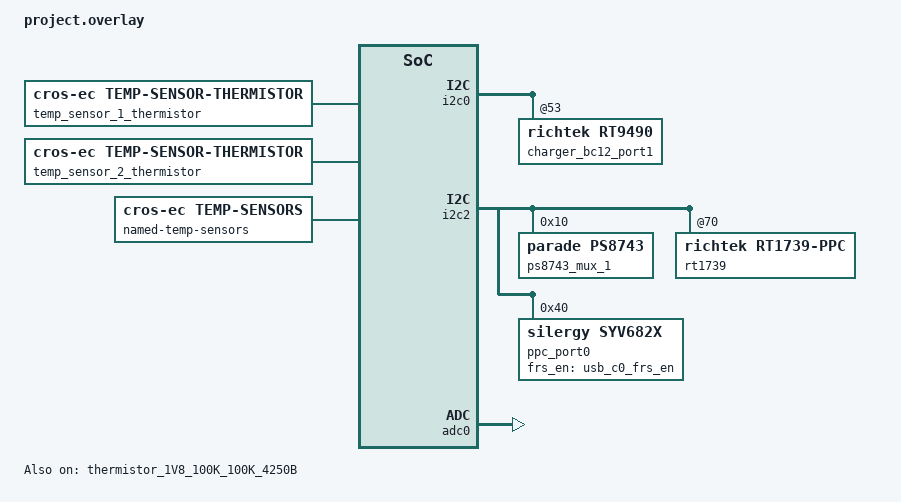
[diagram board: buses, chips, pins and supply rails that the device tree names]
/* Copyright 2023 The ChromiumOS Authors
 * Use of this source code is governed by a BSD-style license that can be
 * found in the LICENSE file.
 */

/* Corsola program common DTS includes */

#include "../common.dtsi"
#include "../power_signal.dtsi"
#include "../ite_adc.dtsi"
#include "../ite_gpio.dtsi"
#include "../ite_i2c.dtsi"
#include "../ite_interrupts.dtsi"
#include "../ite_keyboard.dtsi"
#include "../ite_led.dtsi"
#include "../ite_usbc.dtsi"
#include "../ite_shi.dtsi"
#include "./thermistor.dtsi"
#include <cros/thermistor/thermistor.dtsi>
#include <dt-bindings/motionsense/utils.h>

/ {
	batteries {
		default_battery: b300049 {
			compatible = "celxpert,b300049", "battery-smart";
		};
	};
	gpio-interrupts {
		int_base_imu: base_imu {
			irq-pin = <&base_imu_int_l>;
			flags = <GPIO_INT_EDGE_FALLING>;
			handler = "bmi3xx_interrupt";
		};

		int_pmic_ec_resetb: pmic-ec-resetb {
			irq-pin = <&pmic_ec_resetb>;
			flags = <GPIO_INT_EDGE_BOTH>;
			handler = "power_signal_interrupt";
		};

		int_pg_pp4200_s5: pg-pp4200-s5 {
			irq-pin = <&pg_pp4200_s5_od>;
			flags = <GPIO_INT_EDGE_BOTH>;
			handler = "power_signal_interrupt";
		};

		pogo_prsnt_int: pogo-prsnt-int {
			irq-pin = <&pogo_prsnt_int_l>;
			flags = <GPIO_INT_EDGE_BOTH>;
			handler = "base_detect_interrupt";
		};

		usb_c0_ppc_bc12 {
			handler = "ppc_interrupt";
		};

		/delete-node/ usb_c1_bc12_charger;
		/delete-node/ lid_imu;
	};

	named-gpios {
		compatible = "named-gpios";
		/delete-node/ lid_accel_int_l;
		/delete-node/ usb_c0_ppc_frsinfo;

		// usb_c0_dp_in_hpd: GPH3
		ec_pen_chg_dis_odl: ec_pen_chg_dis_odl{
			gpios = <&gpioh 3 GPIO_OUTPUT_HIGH>;
		};

		en_pp5000_z2: en_pp5000_z2 {
			gpios = <&gpioc 6 GPIO_OUTPUT_LOW>;
		};

		// EN_PP3300_BASE_X  GPD7
		en_pp3300_base_x: en_pp3300_base_x{
			gpios = <&gpiod 7 GPIO_OUTPUT_LOW>;
		};

		// USB_C0_DP_IN_HPD  GPH6
		usb_c0_dp_in_hpd: usb-c0-dp-in-hpd {
			gpios = <&gpioh 6 GPIO_OUTPUT_LOW>;
		};

		// POGO_PRSNT_INT_L  GPI5
		pogo_prsnt_int_l: pogo_prsnt_int_l {
			gpios = <&gpioi 5 (GPIO_INPUT | GPIO_ACTIVE_LOW)>;
		};

		en_pp4200_s5: en-pp4200-s5 {
			gpios = <&gpiob 7 GPIO_OUTPUT_LOW>;
		};

		pg_pp4200_s5_od: pg-pp4200-s5-od {
			gpios = <&gpioc 5 GPIO_INPUT>;
			enum-name = "GPIO_PG_PP4200_S5_OD";
		};

		pmic_ec_resetb: pmic-ec-resetb {
			gpios = <&gpioj 6 (GPIO_INPUT | GPIO_VOLTAGE_1P8 |
					   GPIO_ACTIVE_LOW)>;
			enum-name = "GPIO_PMIC_EC_RESETB";
		};

		gpio_ac_lcd: gpio-ac-lcd{
			gpios = <&gpiom 6 GPIO_OUTPUT_LOW>;
		};

		/delete-node/ entering_rw;
		/*
		 * Not used, only to make system.c compilable.
		 * TODO: find a better way to remove this.
		 */
		entering_rw: entering-rw {
			enum-name = "GPIO_ENTERING_RW";
		};

		usb_c0_frs_en: usb_c0_frs_en {
			gpios = <&gpiof 0 GPIO_OUTPUT_LOW>;
			enum-name = "GPIO_USB_C0_FRS_EN";
		};

		/delete-node/ en_pp5000_usb_a0_vbus;
		/delete-node/ usb_a0_fault_odl;
		/delete-node/ usb_c1_bc12_charger_int_odl;
	};

	unused-pins {
		unused-gpios =
		<&gpioa 7 GPIO_INPUT_PULL_DOWN>,
		<&gpioe 0 GPIO_INPUT_PULL_DOWN>,
		<&gpioe 7 GPIO_INPUT_PULL_DOWN>,
		<&gpiof 1 GPIO_INPUT_PULL_DOWN>,
		<&gpioh 0 GPIO_INPUT_PULL_DOWN>,	//EC_AP_RSVD1_ODL
		<&gpioh 1 GPIO_INPUT_PULL_DOWN>,
		<&gpioh 2 GPIO_INPUT_PULL_DOWN>,
		<&gpioi 3 GPIO_INPUT_PULL_DOWN>,	//EC_AP_RSVD0_ODL
		<&gpioj 4 GPIO_INPUT_PULL_DOWN>,
		<&gpiom 2 GPIO_INPUT_PULL_DOWN>;
	};

	/delete-node/ cros-keyscan;

	aliases {
		/*
		 * motion sense's <>_INT_EVENT is handled
		 * by alias. Using the alias, each driver creates
		 * its own <>_INT_EVENT.
		 */
		bmi3xx-int = &lid_accel;
	};

	motionsense-mutex {
		compatible = "cros-ec,motionsense-mutex";
		lid_mutex_bmi323: bmi323-mutex {
		};
	};

	/* Rotation matrix used by drivers. */
	motionsense-rotation-ref {
		compatible = "cros-ec,motionsense-rotation-ref";
		lid_rot_ref_bmi: lid-rotation-ref-bmi {
			mat33 = <0 1 0
				 (-1) 0 0
				 0 0 1>;
		};
	};

	motionsense-sensor-data {
		bmi323_data: bmi323-drv-data {
			compatible = "cros-ec,drvdata-bmi3xx";
			status = "okay";
		};
	};

	motionsense-sensor {
		/delete-node/ base-accel;
		/delete-node/ base-gyro;

		lid_accel: lid-accel {
			compatible = "cros-ec,bmi3xx-accel";
			status = "okay";

			active-mask = "SENSOR_ACTIVE_S0_S3";
			location = "MOTIONSENSE_LOC_LID";
			mutex = <&lid_mutex_bmi323>;
			port = <&i2c_sensor>;
			rot-standard-ref = <&lid_rot_ref_bmi>;
			default-range = <2>;
			drv-data = <&bmi323_data>;
			configs {
				compatible =
					"cros-ec,motionsense-sensor-config";
				ec-s0 {
					odr = <(10000 | ROUND_UP_FLAG)>;
				};
				ec-s3 {
					odr = <(10000 | ROUND_UP_FLAG)>;
				};
			};
		};

		lid_gyro: lid-gyro {
			compatible = "cros-ec,bmi3xx-gyro";
			status = "okay";

			active-mask = "SENSOR_ACTIVE_S0_S3";
			location = "MOTIONSENSE_LOC_LID";
			mutex = <&lid_mutex_bmi323>;
			port = <&i2c_sensor>;
			rot-standard-ref = <&lid_rot_ref_bmi>;
			drv-data = <&bmi323_data>;
		};
	};

	motionsense-sensor-info {
		compatible = "cros-ec,motionsense-sensor-info";

		/*
		 * list of GPIO interrupts that have to
		 * be enabled at initial stage
		 */
		sensor-irqs = <&int_base_imu>;
	};

	usbc {
		/delete-node/ port1@1;
		/delete-node/ port1-muxes;

		port0@0{
			/delete-property/ bc12;
			ppc_alt = <&ppc_port0>;
			usb-mux-chain-0{
				usb-muxes = <&ps8743_mux_1 &virtual_mux_0>;
			};
		};
	};

	power_signal_list: power-signal-list {
		compatible = "mediatek,mt8188-power-signal-list";

		pg_pp4200_s5 {
			power-enum-name = "PG_PP4200_S5";
			power-gpio-pin = <&pg_pp4200_s5_od>;
		};
		pmic_ap_reset {
			power-enum-name = "PMIC_AP_RST";
			power-gpio-pin = <&pmic_ec_resetb>;
		};
	};

	named-adc-channels {
        	adc_temp_sensor_1: adc-temp-sensor-1 {
			enum-name = "ADC_TEMP_SENSOR_1";
			io-channels = <&adc0 6>;
		};
		adc_temp_sensor_2: adc-temp-sensor-2 {
			enum-name = "ADC_TEMP_SENSOR_2";
			io-channels = <&adc0 7>;
		};
	};

	temp_sensor_1_thermistor: sensor-1-thermistor {
		compatible = "cros-ec,temp-sensor-thermistor";
		thermistor = <&thermistor_1V8_100K_100K_4250B>;
		adc = <&adc_temp_sensor_1>;
	};

	temp_sensor_2_thermistor: sensor-2-thermistor {
		compatible = "cros-ec,temp-sensor-thermistor";
		thermistor = <&thermistor_1V8_100K_100K_4250B>;
		adc = <&adc_temp_sensor_2>;
	};

	named-temp-sensors {
		compatible = "cros-ec,temp-sensors";
		temp_sensor_1 {
			sensor = <&temp_sensor_1_thermistor>;
		};
		temp_sensor_2 {
			sensor = <&temp_sensor_2_thermistor>;
		};
		temp_charger: charger {
			sensor = <&charger_bc12_port1>;
		};
	};
	/*
	 * The hardware design sets PWM0 as the amber light,
	 * PWM1 as the white light and PWM2 as none.
	 */
	pwmleds{
		led_power_white: ec_led1_odl {
			pwms = <&pwm2 PWM_CHANNEL_2 PWM_HZ(324) PWM_POLARITY_INVERTED>;
		};
		led_battery_amber: ec_led2_odl {
			pwms = <&pwm0 PWM_CHANNEL_0 PWM_HZ(324) PWM_POLARITY_INVERTED>;
		};
		led_battery_white: ec_led3_odl {
			pwms = <&pwm1 PWM_CHANNEL_1 PWM_HZ(324) PWM_POLARITY_INVERTED>;
		};
	};

	pwm-led-pins {
		power_led: power-led {
			led-id = "EC_LED_ID_POWER_LED";
			led-pwms = <&led_power_white>;

			/* Overwrite Power LED white to off */
			color-power-white {
				led-color = "LED_WHITE";
				led-values = <0>;
			};
		};
	};

	/delete-node/ led-colors;
	led-colors {
		compatible = "cros-ec,led-policy";

		sysrq-alias = "EC_LED_ID_BATTERY_LED";
		sysrq-led-control-color = "LED_WHITE";

		recovery-hw-reinit-alias = "EC_LED_ID_BATTERY_LED";
		recovery-hw-reinit-led-control-color = "LED_AMBER";

		/* STARMIE LED bat charge */
		bat-power-state-charge-lvl-1 {
			charge-state = "LED_PWRS_CHARGE";
			/* Battery percent range (>= Empty, <= 94%) */
			batt-lvl = <BATTERY_LEVEL_EMPTY 94>;

			battery-led {
				led-id = "EC_LED_ID_BATTERY_LED";
				color-0 {
					led-color = "LED_AMBER";
				};
			};
		};

		bat-power-state-charge-lvl-2 {
			charge-state = "LED_PWRS_CHARGE";
			/* Battery percent range (>= 95) */
			batt-lvl = <95 100>;

			battery-led {
				led-id = "EC_LED_ID_BATTERY_LED";
				color-0 {
					led-color = "LED_WHITE";
				};
			};
		};

		bat-power-state-charge-near-full {
			charge-state = "LED_PWRS_CHARGE_NEAR_FULL";

			battery-led {
				led-id = "EC_LED_ID_BATTERY_LED";

				color-0 {
					led-color = "LED_WHITE";
				};
			};
		};

		bat-power-state-charge-idle {
			charge-state = "LED_PWRS_IDLE";

			battery-led {
				led-id = "EC_LED_ID_BATTERY_LED";

				color-0 {
					led-color = "LED_WHITE";
				};
			};
		};

		bat-power-state-charge-forced-idle {
			charge-state = "LED_PWRS_FORCED_IDLE";

			battery-led {
				led-id = "EC_LED_ID_BATTERY_LED";

				color-0 {
					led-color = "LED_WHITE";
				};
			};
		};

		/* STARMIE LED bat discharge */
		bat-power-state-discharge {
			charge-state = "LED_PWRS_DISCHARGE";
			chipset-state = "POWER_S0";
			/* Battery percent range (>= 11%, <= Full) */
			batt-lvl = <(BATTERY_LEVEL_LOW + 1) BATTERY_LEVEL_FULL>;

			battery-led {
				led-id = "EC_LED_ID_BATTERY_LED";

				color-0 {
					led-color = "LED_WHITE";
				};
			};
		};

		bat-power-state-discharge-s3 {
			charge-state = "LED_PWRS_DISCHARGE";
			chipset-state = "POWER_S3";

			battery-led {
				led-id = "EC_LED_ID_BATTERY_LED";

				color-0 {
					led-color = "LED_WHITE";
					period-ms = <1000>;
				};

				color-1 {
					led-color = "LED_OFF";
					period-ms = <3000>;
				};
			};
		};

		bat-power-state-discharge-s5 {
			charge-state = "LED_PWRS_DISCHARGE";
			chipset-state = "POWER_S5";

			battery-led {
				led-id = "EC_LED_ID_BATTERY_LED";

				color-0 {
					led-color = "LED_OFF";
				};
			};
		};

		/* STARMIE LED low bat discharge */
		bat-power-state-discharge-s0-bat-low {
			charge-state = "LED_PWRS_DISCHARGE";
			chipset-state = "POWER_S0";
			batt-lvl = <BATTERY_LEVEL_EMPTY BATTERY_LEVEL_LOW>;

			battery-led {
				led-id = "EC_LED_ID_BATTERY_LED";

				color-0 {
					led-color = "LED_AMBER";
					period-ms = <1000>;
				};

				color-1 {
					led-color = "LED_OFF";
					period-ms = <3000>;
				};
			};
		};

		/* STARMIE LED bat error */
		bat-power-state-error {
			charge-state = "LED_PWRS_ERROR";
			chipset-state = "POWER_S0";

			battery-led {
				led-id = "EC_LED_ID_BATTERY_LED";

				color-0 {
					led-color = "LED_AMBER";
					period-ms = <1000>;
				};

				color-1 {
					led-color = "LED_OFF";
					period-ms = <1000>;
				};
			};
		};

		bat-power-state-error-s3 {
			charge-state = "LED_PWRS_ERROR";
			chipset-state = "POWER_S3";

			battery-led {
				led-id = "EC_LED_ID_BATTERY_LED";

				color-0 {
					led-color = "LED_WHITE";
					period-ms = <1000>;
				};

				color-1 {
					led-color = "LED_OFF";
					period-ms = <3000>;
				};
			};
		};

		bat-power-state-error-s5 {
			charge-state = "LED_PWRS_ERROR";
			chipset-state = "POWER_S5";

			battery-led {
				led-id = "EC_LED_ID_BATTERY_LED";

				color-0 {
					led-color = "LED_OFF";
				};
			};
		};

		pwr-power-state-off-s3 {
			chipset-state = "POWER_S3";

			power-led {
				led-id = "EC_LED_ID_POWER_LED";
				color-0 {
					led-color = "LED_OFF";
				};
			};
		};

		pwr-power-state-off-s5 {
			chipset-state = "POWER_S5";

			power-led {
				led-id = "EC_LED_ID_POWER_LED";
				color-0 {
					led-color = "LED_OFF";
				};
			};
		};

		pwr-power-state-on {
			chipset-state = "POWER_S0";

			power-led {
				led-id = "EC_LED_ID_POWER_LED";
				color-0 {
					led-color = "LED_WHITE";
				};
			};
		};
	};
};

&i2c0{
	charger_bc12_port1: rt9490@53{
		compatible = "richtek,rt9490";
		thermistor = <&thermistor_rt9490>;
		/delete-property/ irq;
	};
};

&i2c2 {
	ps8743_mux_1: ps8743-mux-1@10 {
		compatible = "parade,ps8743";
		reg = <0x10>;
	};
	rt1739@70{
		compatible = "richtek,rt1739-ppc";
	};
	ppc_port0: syv682x@40 {
		compatible = "silergy,syv682x";
		status = "okay";
		reg = <0x40>;
		frs_en_gpio = <&usb_c0_frs_en>;
	};
};

&adc0{
	status = "okay";
	pinctrl-0 = <&adc0_ch6_gpi6_default>;
	pinctrl-names = "default";
};

&thermistor_1V8_100K_100K_4250B{
	status = "okay";
};
